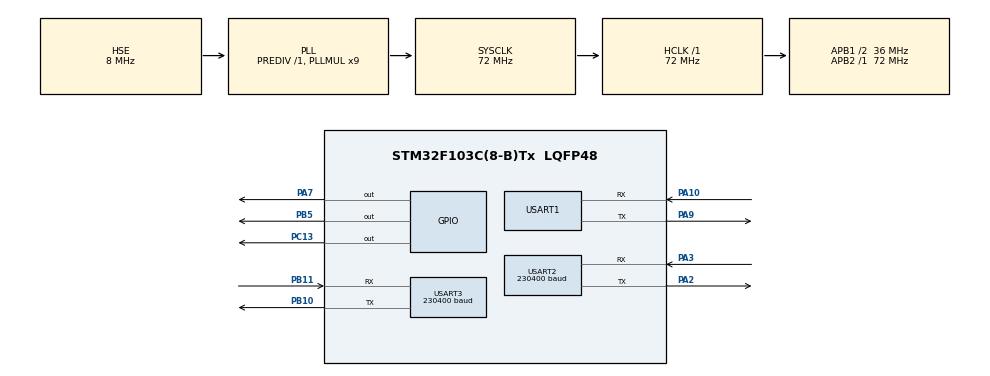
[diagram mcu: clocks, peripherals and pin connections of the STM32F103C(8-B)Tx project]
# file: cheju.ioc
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Mcu.Family=STM32F1
Mcu.Name=STM32F103C(8-B)Tx
Mcu.Package=LQFP48
NVIC.PriorityGroup=NVIC_PRIORITYGROUP_4
NVIC.USART1_IRQn=true\:0\:0\:false\:false\:true\:true\:true\:true
NVIC.USART2_IRQn=true\:0\:0\:false\:false\:true\:true\:true\:true
NVIC.USART3_IRQn=true\:0\:0\:false\:false\:true\:true\:true\:true
PA10.Mode=Asynchronous
PA10.Signal=USART1_RX
PA13.Mode=Serial_Wire
PA13.Signal=SYS_JTMS-SWDIO
PA14.Mode=Serial_Wire
PA14.Signal=SYS_JTCK-SWCLK
PA2.Mode=Asynchronous
PA2.Signal=USART2_TX
PA3.Mode=Asynchronous
PA3.Signal=USART2_RX
PA7.Signal=GPIO_Output
PA9.Mode=Asynchronous
PA9.Signal=USART1_TX
PB10.Mode=Asynchronous
PB10.Signal=USART3_TX
PB11.Mode=Asynchronous
PB11.Signal=USART3_RX
PB5.Signal=GPIO_Output
PC13-TAMPER-RTC.Signal=GPIO_Output
PD0-OSC_IN.Mode=HSE-External-Oscillator
PD0-OSC_IN.Signal=RCC_OSC_IN
PD1-OSC_OUT.Mode=HSE-External-Oscillator
PD1-OSC_OUT.Signal=RCC_OSC_OUT
ProjectManager.HeapSize=0x200
ProjectManager.StackSize=0x400
ProjectManager.TargetToolchain=MDK-ARM V5.32
RCC.AHBFreq_Value=72000000
RCC.APB1CLKDivider=RCC_HCLK_DIV2
RCC.APB1Freq_Value=36000000
RCC.APB1TimFreq_Value=72000000
RCC.APB2Freq_Value=72000000
RCC.APB2TimFreq_Value=72000000
RCC.DATA_CACHE_ENABLE=1
RCC.HCLKFreq_Value=72000000
RCC.INSTRUCTION_CACHE_ENABLE=1
RCC.LSE_Drive_CapabilityArg=+LSE_Drive_Capability
RCC.PLLMUL=RCC_PLL_MUL9
RCC.PLLSourceVirtual=RCC_PLLSOURCE_HSE
RCC.SYSCLKFreq_VALUE=72000000
RCC.SYSCLKSource=RCC_SYSCLKSOURCE_PLLCLK
RCC.USBFreq_Value=72000000
USART1.VirtualMode=VM_ASYNC
USART2.BaudRate=230400
USART2.VirtualMode=VM_ASYNC
USART3.BaudRate=230400
USART3.VirtualMode=VM_ASYNC
board=custom

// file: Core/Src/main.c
/* USER CODE BEGIN Header */
/**
  ******************************************************************************
  * @file           : main.c
  * @brief          : Main program body
  ******************************************************************************
  * @attention
  *
  * Copyright (c) 2026 STMicroelectronics.
  * All rights reserved.
  *
  * This software is licensed under terms that can be found in the LICENSE file
  * in the root directory of this software component.
  * If no LICENSE file comes with this software, it is provided AS-IS.
  *
  ******************************************************************************
  */
/* USER CODE END Header */
#include "main.h"
#include "usart.h"
#include "gpio.h"

/* USER CODE BEGIN Includes */
#include <stdio.h>
/* USER CODE END Includes */

/* USER CODE BEGIN PM */
uint32_t now = HAL_GetTick();
/* USER CODE END PM */

void SystemClock_Config(void);

/* USER CODE BEGIN 0 */

/* 发两路雷达数据给TC264，帧头区分：0xBB=USART3那路，0xCC=USART2那路 */

void Radar_Send_Frame(void)
{
    static uint16_t last_cnt3 = 0;
    static uint16_t last_cnt2 = 0;
    uint8_t frame[6];
    uint8_t sent = 0;

    if (radar_ch3.receive_cnt != last_cnt3)
    {
        last_cnt3 = radar_ch3.receive_cnt;
        frame[0] = 0xBB;
        frame[1] = (uint8_t)(radar_ch3.distance & 0xFF);
        frame[2] = (uint8_t)(radar_ch3.distance >> 8);
        frame[3] = radar_ch3.confidence;
        frame[4] = frame[1] ^ frame[2] ^ frame[3];
        frame[5] = 0x0D;
        HAL_UART_Transmit(&huart1, frame, 6, 10);
        sent = 1;
    }

    if (radar_ch2.receive_cnt != last_cnt2)
    {
        last_cnt2 = radar_ch2.receive_cnt;
        frame[0] = 0xCC;
        frame[1] = (uint8_t)(radar_ch2.distance & 0xFF);
        frame[2] = (uint8_t)(radar_ch2.distance >> 8);
        frame[3] = radar_ch2.confidence;
        frame[4] = frame[1] ^ frame[2] ^ frame[3];
        frame[5] = 0x0D;
        HAL_UART_Transmit(&huart1, frame, 6, 10);
        sent = 1;
    }

    //if (sent) HAL_GPIO_TogglePin(GPIOC, GPIO_PIN_13);
}

/* USER CODE END 0 */

int main(void)
{

  /* MCU Configuration--------------------------------------------------------*/

  /* Reset of all peripherals, Initializes the Flash interface and the Systick. */
  HAL_Init();

  /* Configure the system clock */
  SystemClock_Config();

  /* Initialize all configured peripherals */
  MX_GPIO_Init();
  MX_USART1_UART_Init();
  MX_USART3_UART_Init();
  MX_USART2_UART_Init();
  /* USER CODE BEGIN 2 */
	/* 确认程序跑到这里了 */
//for (uint8_t i = 0; i < 9; i++)
//{
//    HAL_GPIO_TogglePin(GPIOC, GPIO_PIN_13);
//    HAL_Delay(150);
//}
  HAL_GPIO_WritePin(GPIOC, GPIO_PIN_13, GPIO_PIN_RESET);

//huart1.RxState = HAL_UART_STATE_READY;
//huart1.gState  = HAL_UART_STATE_READY;
//__HAL_UNLOCK(&huart1);
  HAL_UART_Receive_IT(&huart1, Usart1_Receive_buf, 1);

  HAL_UART_Receive_IT(&huart2, Uart2_Receive_buf, 1);
  HAL_UART_Receive_IT(&huart3, Uart3_Receive_buf, 1);
//if (HAL_UART_Receive_IT(&huart1, Usart1_Receive_buf, 1) != HAL_OK)
//{
//    // 启动失败,让PC13长亮提示
//    HAL_GPIO_WritePin(GPIOC, GPIO_PIN_13, GPIO_PIN_RESET);
//    while(1);
//}
  /* USER CODE END 2 */

  /* Infinite loop */
  /* USER CODE BEGIN WHILE */
  while (1)
  {
    /* USER CODE BEGIN WHILE */

// while(1) 里:

if (now >= 10000 && now < 13000)
{
    HAL_GPIO_WritePin(GPIOB, GPIO_PIN_5, GPIO_PIN_RESET);   // 10~13秒:转
}
else
{
    HAL_GPIO_WritePin(GPIOB, GPIO_PIN_5, GPIO_PIN_SET); // 其它时间:停
}
    Radar_Send_Frame();   // 发帧 + LED发送指示
    HAL_Delay(30);        // 约10Hz；想反应更快就减小这个值（比如20）

    /* USER CODE END WHILE */

  }
}

void SystemClock_Config(void)
{
  RCC_OscInitTypeDef RCC_OscInitStruct = {0};
  RCC_ClkInitTypeDef RCC_ClkInitStruct = {0};

  /** Initializes the RCC Oscillators according to the specified parameters
  * in the RCC_OscInitTypeDef structure.
  */
  RCC_OscInitStruct.OscillatorType = RCC_OSCILLATORTYPE_HSE;
  RCC_OscInitStruct.HSEState = RCC_HSE_ON;
  RCC_OscInitStruct.HSEPredivValue = RCC_HSE_PREDIV_DIV1;
  RCC_OscInitStruct.HSIState = RCC_HSI_ON;
  RCC_OscInitStruct.PLL.PLLState = RCC_PLL_ON;
  RCC_OscInitStruct.PLL.PLLSource = RCC_PLLSOURCE_HSE;
  RCC_OscInitStruct.PLL.PLLMUL = RCC_PLL_MUL9;
  if (HAL_RCC_OscConfig(&RCC_OscInitStruct) != HAL_OK)
  {
    Error_Handler();
  }

  /** Initializes the CPU, AHB and APB buses clocks
  */
  RCC_ClkInitStruct.ClockType = RCC_CLOCKTYPE_HCLK|RCC_CLOCKTYPE_SYSCLK
                              |RCC_CLOCKTYPE_PCLK1|RCC_CLOCKTYPE_PCLK2;
  RCC_ClkInitStruct.SYSCLKSource = RCC_SYSCLKSOURCE_PLLCLK;
  RCC_ClkInitStruct.AHBCLKDivider = RCC_SYSCLK_DIV1;
  RCC_ClkInitStruct.APB1CLKDivider = RCC_HCLK_DIV2;
  RCC_ClkInitStruct.APB2CLKDivider = RCC_HCLK_DIV1;

  if (HAL_RCC_ClockConfig(&RCC_ClkInitStruct, FLASH_LATENCY_2) != HAL_OK)
  {
    Error_Handler();
  }
}

void Error_Handler(void)
{
  __disable_irq();
  while (1)
  {
  }
}
